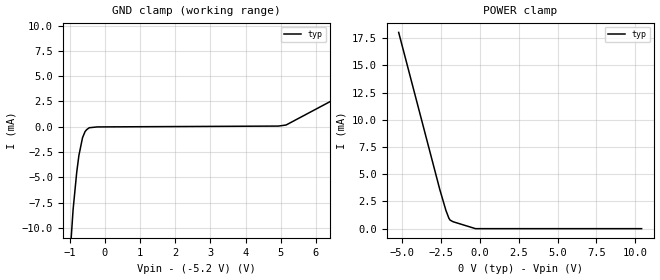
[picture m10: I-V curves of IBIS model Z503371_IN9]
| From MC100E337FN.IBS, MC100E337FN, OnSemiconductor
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| (C) COPYRIGHT 1993-2000
| MENTOR GRAPHICS CORPORATION
| ICX STANDARD LIBRARY, ICX PROJECT MODELING,
| ICX CUSTOM MODELING, ICX VENDOR MODEL
| ALL RIGHTS RESERVED.
| THE FOLLOWING ARE TRADEMARKS OR SERVICE MARKS OF
| MENTOR GRAPHICS CORPORATION:ICX (R), ICX STANDARD
| LIBRARY(R), ICX PROJECT MODELING(R), ICX CUSTOM
| MODELING(R), qualityIBIS(TM), MODELVIEWER(TM),
| AND MODELEDITOR(TM)
| ALL COPIES OF SOFTWARE, INCLUDING BUT NOT LIMITED TO
| ANY MODIFICATIONS, ENHANCEMENTS OR DERIVATIVE WORKS,
| MUST CONTAIN ALL MENTOR GRAPHICS CORPORATION'S
| NOTICES AND LEGENDS, INCLUDING THOSE EMBEDDED IN
| SOFTWARE AND THOSE AFFIXED TO SOFTWARE MEDIUM
| AND CONTAINER, AS RECEIVED FROM MENTOR GRAPHICS
| CORPORATION.
| Model Application Version 1.89 2/18/99.
[Model] Z503371_IN9
Model_type Input_ECL
Vinl = -1.475V
Vinh = -1.165V
C_comp 4.000pF NA NA
| variable typ   min   max
[Voltage Range] -5.200V NA NA
[GND Clamp Reference] -5.200V NA NA
[POWER Clamp Reference] 0.000V NA NA
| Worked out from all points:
|   GND clamp passes 1 mA (typ) near -0.63 V on its own axis
|   POWER clamp passes 1 mA (typ) near -1.99 V on its own axis
[GND Clamp]
-5.2V     -307mA     NA         NA
-1.063V   -16.26mA   NA         NA
-906mV    -8.173mA   NA         NA
-803mV    -4.489mA   NA         NA
-741mV    -2.829mA   NA         NA
-638mV    -1.08mA    NA         NA
-566mV    -480uA     NA         NA
-447mV    -100.2uA   NA         NA
-223.5mV  -19.22uA   NA         NA
4.934V    64.71uA    NA         NA
5.151V    170.6uA    NA         NA
10.4V     9.874mA    NA         NA
[POWER Clamp]
-5.2V     18.04mA    NA         NA
-2.559V   3.596mA    NA         NA
-2.167V   1.68mA     NA         NA
-1.977V   961.2uA    NA         NA
-1.898V   786.2uA    NA         NA
-1.704V   635.9uA    NA         NA
-537.2mV  120uA      NA         NA
-268.6mV  0A         NA         NA
10.4V     0A         NA         NA
